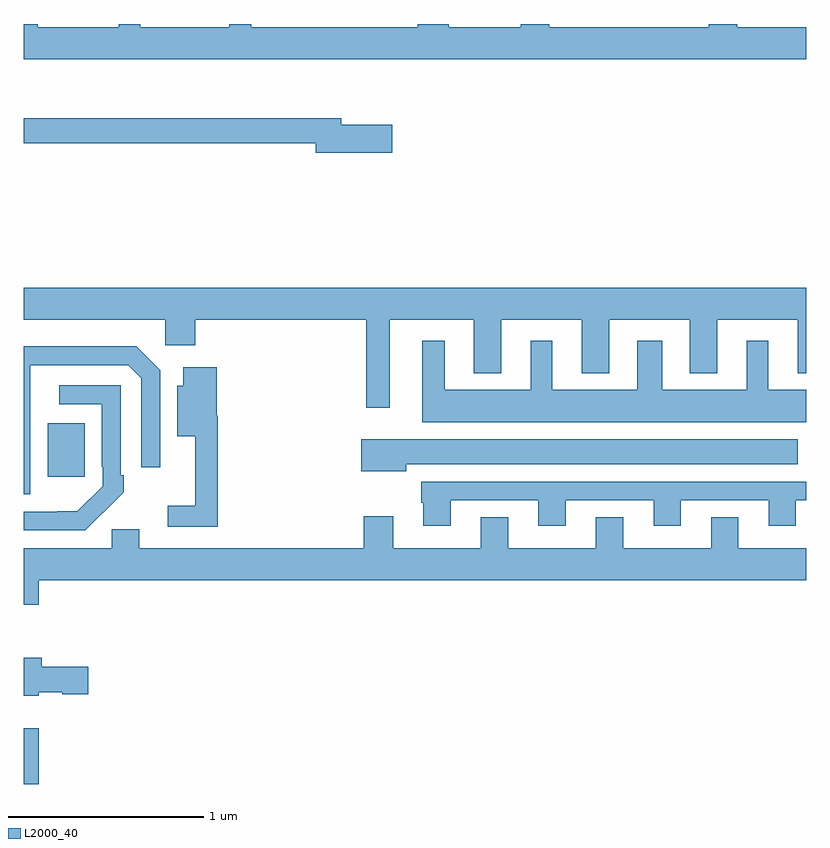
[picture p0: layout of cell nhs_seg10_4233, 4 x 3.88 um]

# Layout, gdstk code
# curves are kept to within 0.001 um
import gdstk
lib = gdstk.Library(unit=1e-6, precision=1e-09)
def R(c, l, rs):  # rectangles x0, y0, x1, y1
    for r in rs: c.add(gdstk.rectangle(r[:2], r[2:], *l))
def P(c, l, *ps):  # polygons
    for p in ps: c.add(gdstk.Polygon(p, *l))
L2000_40 = (2000, 40)

nhs_seg10_4233 = lib.new_cell('nhs_seg10_4233')
R(nhs_seg10_4233, L2000_40, [(347,1292.616,347.078,1292.902), (347.123,1294.185,347.311,1294.459)])
P(nhs_seg10_4233, L2000_40, [(351,1296.484),(350.647,1296.484),(350.647,1296.5),(350.5,1296.5),(350.5,1296.484),(349.686,1296.484),(349.686,1296.5),(349.54,1296.5),(349.54,1296.484),(349.173,1296.484),(349.173,1296.5),(349.013,1296.5),(349.013,1296.484),(348.163,1296.484),(348.163,1296.5),(348.05,1296.5),(348.05,1296.484),(347.597,1296.484),(347.597,1296.5),(347.487,1296.5),(347.487,1296.484),(347.073,1296.484),(347.073,1296.5),(347,1296.5),(347,1296.32),(351,1296.32)],
  [(348.883,1295.985),(348.622,1295.985),(348.622,1296.019),(347,1296.019),(347,1295.89),(348.494,1295.89),(348.494,1295.843),(348.883,1295.843)],
  [(348.871,1294.988),(349.301,1294.988),(349.301,1294.715),(349.441,1294.715),(349.441,1294.988),(349.853,1294.988),(349.853,1294.715),(349.993,1294.715),(349.993,1294.988),(350.405,1294.988),(350.405,1294.715),(350.545,1294.715),(350.545,1294.988),(350.957,1294.988),(350.957,1294.715),(351,1294.715),(351,1295.152),(347,1295.152),(347,1294.988),(347.724,1294.988),(347.724,1294.857),(347.876,1294.857),(347.876,1294.988),(348.75,1294.988),(348.75,1294.539),(348.871,1294.539)],
  [(351,1294.63),(350.806,1294.63),(350.806,1294.882),(350.696,1294.882),(350.696,1294.63),(350.263,1294.63),(350.263,1294.882),(350.135,1294.882),(350.135,1294.63),(349.702,1294.63),(349.702,1294.882),(349.592,1294.882),(349.592,1294.63),(349.153,1294.63),(349.153,1294.882),(349.037,1294.882),(349.037,1294.466),(351,1294.466)],
  [(347.034,1294.555),(347.035,1294.555),(347.035,1294.755),(347.535,1294.755),(347.601,1294.689),(347.601,1294.236),(347.697,1294.236),(347.697,1294.731),(347.576,1294.852),(347,1294.852),(347,1294.098),(347.034,1294.098)],
  [(347.993,1294.498),(347.987,1294.498),(347.987,1294.747),(347.816,1294.747),(347.816,1294.651),(347.786,1294.651),(347.786,1294.394),(347.876,1294.394),(347.876,1294.039),(347.736,1294.039),(347.736,1293.93),(347.993,1293.93)],
  [(347.405,1294.003),(347.406,1294.002),(347.511,1294.107),(347.511,1294.195),(347.496,1294.195),(347.496,1294.653),(347.181,1294.653),(347.181,1294.557),(347.4,1294.557),(347.4,1294.237),(347.403,1294.237),(347.403,1294.137),(347.275,1294.009),(347,1294.008),(347,1293.912),(347.314,1293.912)],
  [(348.955,1294.25),(350.956,1294.25),(350.956,1294.378),(348.726,1294.378),(348.726,1294.214),(348.955,1294.214)],
  [(349.183,1294.065),(349.631,1294.065),(349.631,1293.936),(349.771,1293.936),(349.771,1294.065),(350.219,1294.065),(350.219,1293.936),(350.359,1293.936),(350.359,1294.065),(350.807,1294.065),(350.807,1293.936),(350.947,1293.936),(350.947,1294.065),(351,1294.065),(351,1294.161),(349.031,1294.161),(349.031,1294.053),(349.043,1294.053),(349.043,1293.936),(349.183,1293.936)],
  [(347.078,1293.656),(351,1293.656),(351,1293.82),(350.653,1293.82),(350.653,1293.98),(350.513,1293.98),(350.513,1293.82),(350.065,1293.82),(350.065,1293.98),(349.925,1293.98),(349.925,1293.82),(349.477,1293.82),(349.477,1293.98),(349.337,1293.98),(349.337,1293.82),(348.889,1293.82),(348.889,1293.985),(348.737,1293.985),(348.737,1293.82),(347.59,1293.82),(347.59,1293.918),(347.451,1293.918),(347.451,1293.82),(347,1293.82),(347,1293.532),(347.078,1293.532)],
  [(347.076,1293.086),(347.196,1293.086),(347.196,1293.074),(347.329,1293.074),(347.329,1293.216),(347.093,1293.216),(347.093,1293.262),(347,1293.262),(347,1293.068),(347.076,1293.068)])

lib.write_gds('nhs_seg10_4233.gds')
